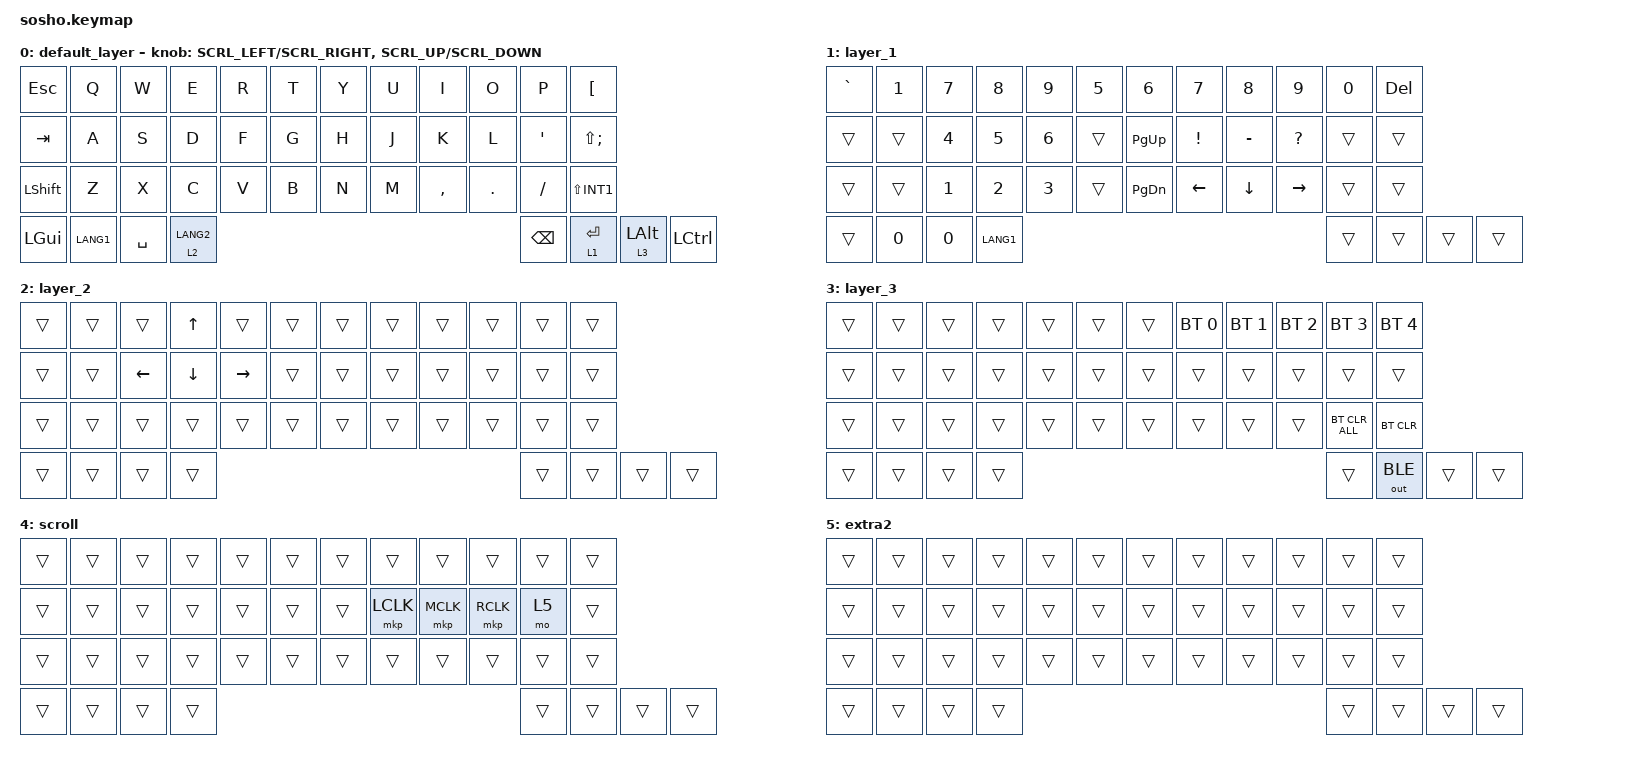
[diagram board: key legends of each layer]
//スクロール量の調整(デフォルト150)
#define ZMK_POINTING_DEFAULT_SCRL_VAL 11

#include <behaviors.dtsi>
#include <dt-bindings/zmk/bt.h>
#include <dt-bindings/zmk/keys.h>
#include <dt-bindings/zmk/pointing.h>
#include <dt-bindings/zmk/outputs.h>

/ {
	behaviors {
		//エンコーダにスクロールを割り当てるためのビヘイビア
		msc_ec_l: sensor_rotation_scroll_L {
	        compatible = "zmk,behavior-sensor-rotate-var";
            #sensor-binding-cells = <2>;
            bindings = <&msc>, <&msc>;
			tap-ms = <20>;
        };
		msc_ec_r: sensor_rotation_scroll_R {
	        compatible = "zmk,behavior-sensor-rotate-var";
            #sensor-binding-cells = <2>;
            bindings = <&msc>, <&msc>;
			tap-ms = <20>;
        };
	};
};

//スクロールの調整
&msc {
    time-to-max-speed-ms = <0>;   // 即座に最大速度（加速なし）
    acceleration-exponent = <0>;   // 加速なし
};
/{
    combos {
        compatible = "zmk,combos";
        prioritize-longer-keys;
		//左クリックのコンボ 19 J 20 K
	    combo_LCLK {
            timeout-ms = <50>;
            key-positions = <19 20>;
            bindings = <&mkp LCLK>;
        };

		//右クリックのコンボ 20 K 21 L
        combo_RCLK {
            timeout-ms = <50>;
            key-positions = <20 21>;
            bindings = <&mkp RCLK>;
        };

		//ホイールクリックのコンボ 19 J 21 L
	    combo_MCLK {
            timeout-ms = <90>;
            key-positions = <19 21>;
            bindings = <&mkp MCLK>;
        };

		//作ったけど消した。ポインティングデバイスをスクロールにしたい人向け
		//31 M 32 ,
		combo_SCROLL {
            timeout-ms = <50>;
            key-positions = <31 32>;
            bindings = <&mo 4>;
        };
    };
};

/{
keymap {
    compatible = "zmk,keymap";

    default_layer {
        bindings = <
            &kp ESC    &kp Q   &kp W  &kp E  &kp R  &kp T      &kp Y  &kp U  &kp I      &kp O    &kp P     &kp LBKT
            &kp TAB    &kp A   &kp S  &kp D  &kp F  &kp G      &kp H  &kp J  &kp K      &kp L    &kp SQT   &kp LS(SEMI)
            &kp LSHFT  &kp Z   &kp X  &kp C  &kp V  &kp B      &kp N  &kp M  &kp COMMA  &kp DOT  &kp SLASH &kp LS(INT1)
            &kp LGUI    &kp LANG1              &kp SPACE  &lt 2 LANG2  &kp BSPC  &lt 1 ENTER              &lt 3 LALT     &kp LCTRL
        >;
		//&msc_ec_lとrは、上のビヘイビアで作ったもの。
        sensor-bindings = <&msc_ec_l SCRL_LEFT SCRL_RIGHT &msc_ec_r SCRL_UP SCRL_DOWN>;
    };
	
    layer_1 {
        bindings = <
            &kp GRAVE &kp N1  &kp N7  &kp N8  &kp N9  &kp N5       &kp N6    &kp N7   &kp N8   &kp N9    &kp N0 &kp DEL
            &trans    &trans &kp N4  &kp N5  &kp N6  &trans           &kp PG_UP &kp EXCL &kp MINUS   &kp QMARK   &trans &trans
            &trans    &trans &kp N1  &kp N2  &kp N3  &trans           &kp PG_DN &kp LEFT &kp DOWN &kp RIGHT &trans &trans
            &trans    &kp N0               &kp N0  &kp LANG1            &trans    &trans                      &trans &trans
        >;
    };

    layer_2 {
        bindings = <
            &trans &trans &trans &kp UP &trans &trans   &trans &trans &trans &trans &trans &trans
            &trans &trans  &kp LEFT &kp DOWN &kp RIGHT &trans  &trans &trans &trans &trans &trans &trans
            &trans &trans &trans &trans &trans &trans   &trans &trans &trans &trans &trans &trans
            &trans &trans                  &trans  &trans     &trans  &trans                        &trans     &trans
        >;
    };

    layer_3 {
        bindings = <
            &trans &trans &trans &trans &trans &trans      &trans  &bt BT_SEL 0  &bt BT_SEL 1  &bt BT_SEL 2  &bt BT_SEL 3   &bt BT_SEL 4
            &trans &trans &trans &trans &trans &trans      &trans  &trans        &trans        &trans        &trans         &trans
            &trans &trans &trans &trans &trans &trans      &trans  &trans        &trans        &trans        &bt BT_CLR_ALL &bt BT_CLR
            &trans &trans               &trans &trans      &trans  &out OUT_BLE                                    &trans         &trans
        >;
    };
        scroll {
        bindings = <
            &trans &trans &trans &trans &trans &trans      &trans     &trans     &trans     &trans     &trans &trans
            &trans &trans &trans &trans &trans &trans      &trans     &mkp LCLK  &mkp MCLK  &mkp RCLK  &mo 5  &trans
            &trans &trans &trans &trans &trans &trans      &trans     &trans     &trans     &trans     &trans &trans
            &trans &trans                             &trans &trans    &trans     &trans                       &trans &trans
        >;
    };
        extra2 {
        bindings = <
            &trans &trans &trans &trans &trans &trans      &trans &trans &trans &trans &trans &trans
            &trans &trans &trans &trans &trans &trans      &trans &trans &trans &trans &trans &trans
            &trans &trans &trans &trans &trans &trans      &trans &trans &trans &trans &trans &trans
            &trans &trans                            &trans &trans     &trans &trans                    &trans &trans
        >;
    };
};
};
